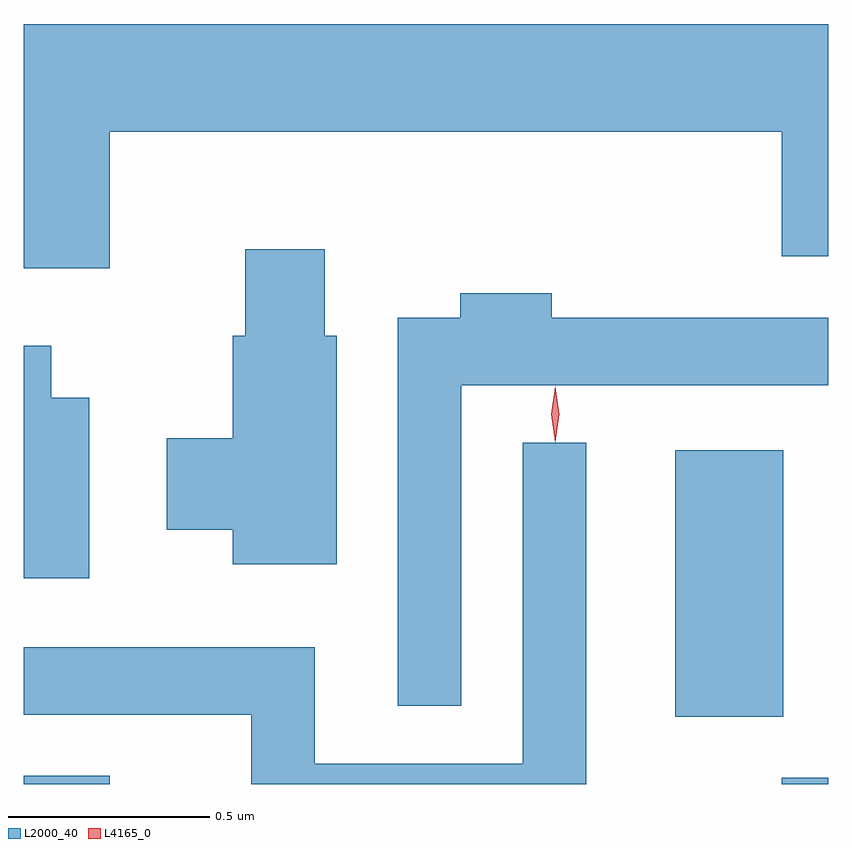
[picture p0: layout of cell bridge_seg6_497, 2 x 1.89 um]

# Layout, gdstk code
import gdstk
lib = gdstk.Library(unit=1e-6, precision=1e-09)
def R(c, l, rs):  # rectangles x0, y0, x1, y1
    for r in rs: c.add(gdstk.rectangle(r[:2], r[2:], *l))
def P(c, l, *ps):  # polygons
    for p in ps: c.add(gdstk.Polygon(p, *l))
L2000_40 = (2000, 40)
L4165_0 = (4165, 0)

bridge_seg6_497 = lib.new_cell('bridge_seg6_497')
R(bridge_seg6_497, L2000_40, [(666.886,1532.874,667.099,1532.894), (668.771,1532.874,668.886,1532.889), (668.506,1533.041,668.774,1533.704)])
P(bridge_seg6_497, L2000_40, [(667.099,1534.496),(668.771,1534.496),(668.771,1534.186),(668.886,1534.186),(668.886,1534.764),(666.886,1534.764),(666.886,1534.156),(667.099,1534.156)],
  [(667.664,1533.989),(667.634,1533.989),(667.634,1534.204),(667.436,1534.204),(667.436,1533.989),(667.406,1533.989),(667.406,1533.734),(667.241,1533.734),(667.241,1533.506),(667.406,1533.506),(667.406,1533.421),(667.664,1533.421)],
  [(667.974,1533.866),(668.886,1533.866),(668.886,1534.034),(668.199,1534.034),(668.199,1534.094),(667.971,1534.094),(667.971,1534.034),(667.816,1534.034),(667.816,1533.068),(667.974,1533.068)],
  [(667.049,1533.834),(666.954,1533.834),(666.954,1533.964),(666.886,1533.964),(666.886,1533.386),(667.049,1533.386)],
  [(668.284,1533.723),(668.126,1533.723),(668.126,1532.924),(667.609,1532.924),(667.609,1533.214),(666.886,1533.214),(666.886,1533.046),(667.451,1533.046),(667.451,1532.874),(668.284,1532.874)])
P(bridge_seg6_497, L4165_0, [(668.207,1533.724),(668.207,1533.724),(668.197,1533.793),(668.207,1533.862),(668.207,1533.863),(668.208,1533.862),(668.217,1533.793),(668.208,1533.724)])

lib.write_gds('bridge_seg6_497.gds')
